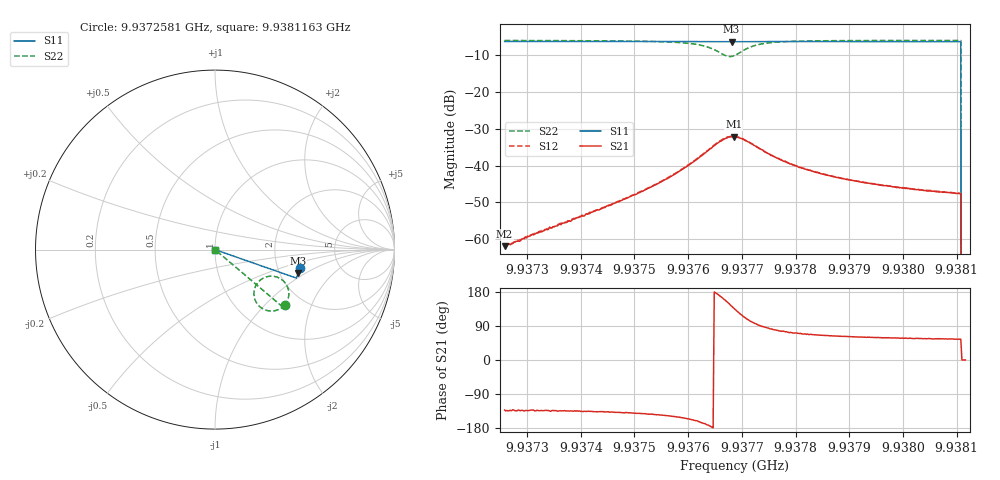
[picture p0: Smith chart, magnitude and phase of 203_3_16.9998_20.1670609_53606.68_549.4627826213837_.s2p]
#  HZ  S  RI  R  50.00
! Rohde & Schwarz Vector Network Analyzer
! Rohde-Schwarz,ZNB20-2Port,1311601062101988,3.16
! Created: UTC 3/20/2024, 11:01:09 PM
! freq[Hz]  re:S11  im:S11  re:S21  im:S21  re:S12  im:S12  re:S22  im:S22
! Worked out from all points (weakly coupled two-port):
!   401 points, 9.9372581 GHz to 9.9381163 GHz, reference 50 ohm
!   highest |S21| = -32.14 dB at 9.9376851 GHz (marker M1); lowest = -61.9 dB at 9.9372581 GHz (marker M2)
!   lowest |S11| = -6.4 dB at 9.9376808 GHz (marker M3), VSWR 2.84, Z = 125 - j42.4 ohm
!   |S11| at or under -10 dB: 9.9381078 GHz to end of sweep
!   |S22| runs from - to -6.1 dB; largest |S21 - S12| = 0.001
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9.93725809e9  0.4724 -0.1038  -0.000538 -0.000597  -0.000563 -0.000575  0.3914 -0.3076
9.93740184e9  0.4694 -0.1136  -0.00149 -0.00147  -0.00152 -0.00145  0.3763 -0.3207
9.93748552e9  0.4675 -0.1193  -0.0027 -0.00236  -0.0028 -0.00235  0.3613 -0.3304
9.93754559e9  0.4661 -0.1233  -0.00474 -0.00332  -0.00487 -0.00329  0.3411 -0.3384
9.93759494e9  0.4645 -0.1267  -0.00848 -0.00414  -0.0087 -0.00408  0.3076 -0.342
9.93763142e9  0.4631 -0.1291  -0.0145 -0.00306  -0.0148 -0.00266  0.259 -0.3251
9.93766145e9  0.4615 -0.1303  -0.0209 0.00499  -0.0213 0.00573  0.2171 -0.2523
9.93767218e9  0.461 -0.1304  -0.0212 0.0105  -0.0213 0.0114  0.2239 -0.208
9.93768076e9  0.4609 -0.1303  -0.0194 0.015  -0.0193 0.0159  0.2459 -0.1757
9.93768506e9  0.461 -0.1304  -0.0179 0.017  -0.0175 0.0178  0.2613 -0.1634
9.9376872e9  0.461 -0.1306  -0.0171 0.0177  -0.0166 0.0185  0.2698 -0.1586
9.93769793e9  0.4614 -0.1306  -0.0118 0.0202  -0.0113 0.0207  0.3134 -0.1481
9.93771295e9  0.4617 -0.1315  -0.00548 0.0201  -0.00485 0.0202  0.3629 -0.1612
9.93773655e9  0.462 -0.1333  0.000377 0.0164  0.000467 0.0165  0.3998 -0.1995
9.93777517e9  0.4615 -0.1365  0.00285 0.0114  0.00324 0.0114  0.4113 -0.244
9.93780092e9  0.4611 -0.1381  0.00312 0.00941  0.00344 0.00928  0.4102 -0.2619
9.93783095e9  0.4602 -0.1404  0.00329 0.00773  0.00342 0.00771  0.4067 -0.2759
9.93789747e9  0.4588 -0.1449  0.00301 0.00566  0.00318 0.00565  0.3988 -0.2948
9.93797471e9  0.4567 -0.15  0.00275 0.00448  0.00283 0.00445  0.391 -0.3078
9.93810344e9  0.4534 -0.1584  0.00241 0.00342  0.00247 0.00343  0.3805 -0.3215
9.93811417e9  0 0  0 0  0 0  0 0
9.93811632e9  0 0  0 0  0 0  0 0
